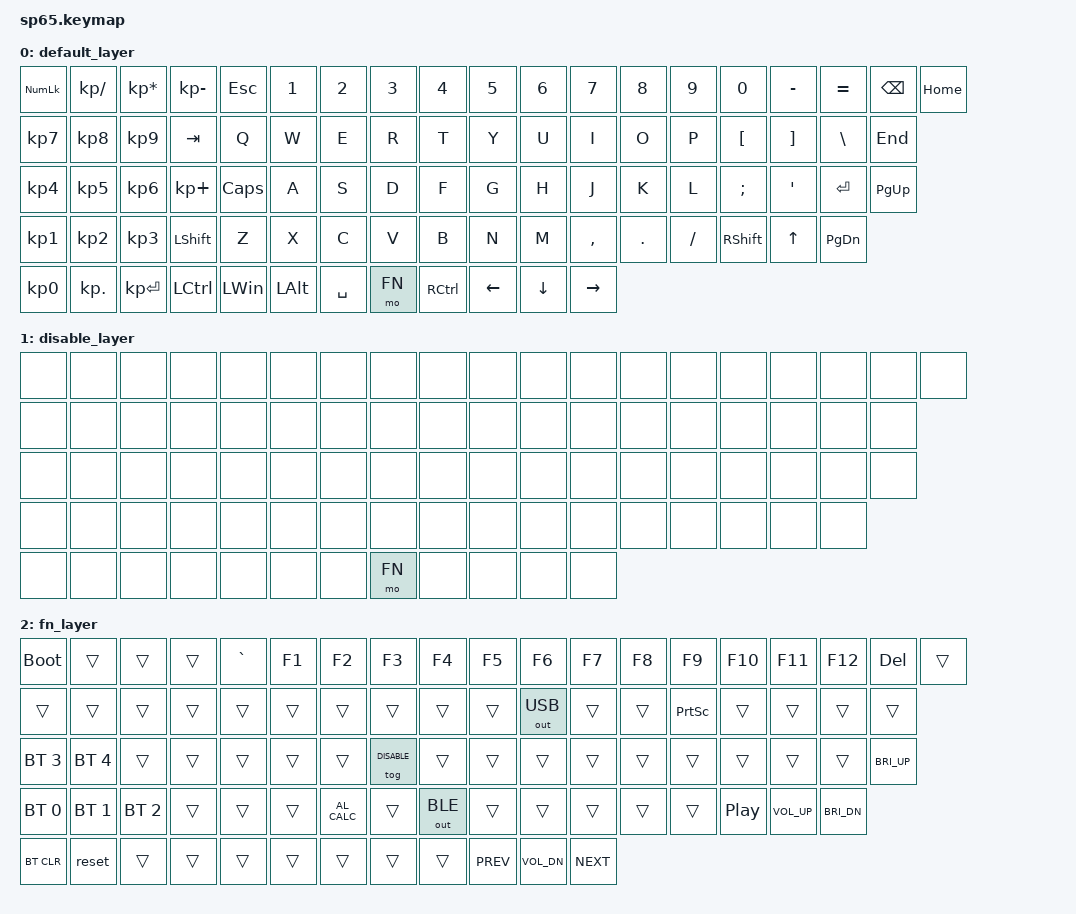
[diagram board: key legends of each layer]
#include <behaviors.dtsi>
#include <dt-bindings/zmk/bt.h>
#include <dt-bindings/zmk/keys.h>
#include <dt-bindings/zmk/outputs.h>

#define DEFAULT 0
#define FN      2
#define DISABLE 1

/ {
    keymap {
        compatible = "zmk,keymap";

// --------------------------------------------------------------------------------------------------------------------------------------------------------------------
// | MX1  | MX2  | MX3  | MX4  |   | MX5  | MX6 | MX7 | MX8 | MX9 | MX10 | MX11 | MX12 | MX13 | MX14 | MX15 | MX16 | MX17 | MX18     | MX19 |
// | NUMLK| DIV  | MULT | MINUS|   | ESC  | 1!  | 2@  | 3#  | 4$  | 5%   |  6^  |  7&  |  8*  |  9(  | 0)   |  -_  |  +=  | BACKSPC  | HOME |

// | MX20 | MX21 | MX22 |      |   | MX23 | MX34 | MX25 | MX26 | MX27 | MX28 | MX29 | MX30 | MX31 | MX32 | MX33 | MX34 | MX35 | MX36 | MX37 |
// | 7HM  | 8UP  |9PGUP |      |   | TAB  | Q    | W    | E    | R    | T    | Y    | U    | I    | O    | P    |  {[  |  }]  |  \|  |  END |

// | MX38 | MX39 | MX40 | MX41 |   | MX42 | MX43 | MX44 | MX45 | MX46 | MX47 | MX48 | MX49 | MX50 | MX51 | MX52 | MX53 | MX54 |      | MX55 |
// | 4RIG | 5    | 6LFT | PLUS |   | CAPS | A    | S    | D    | F    | G    | H    | J    | K    | L    | ;:   | '"   | ENTR |      | PGUP |

// | MX56 | MX57 | MX58 |      |   | MX59 | MX60 | MX61 | MX62 | MX63 | MX64 | MX65 | MX66 | MX67 | MX68 | MX69 | MX70 |      | MX71 | MX72 |
// | 1END | 2DN  |3PGDN |      |   | SHFT | Z    | X    | C    | V    | B    | N    | M    | ,<   | .>   | /?   | SHFT |      | UPARW| PGDN |

// | MX73 |      | MX74 | MX75 |   | MX76 | MX77 | MX78 |             | MX79 |                    | MX80 |      | MX81 | MX82 | MX83 | MX84 |
// | 0INS |      | .DEL | ENTR |   |LCTRL | WIN  | LALT |             |SPACE |                    | Fn   |      |RCTRL | LARW |DNARW | RARW |

        default_layer {
            bindings = <
        &kp KP_NUMLOCK         &kp KP_SLASH                 &kp KP_ASTERISK     &kp KP_MINUS        &kp ESC   &kp N1    &kp N2    &kp N3    &kp N4    &kp N5    &kp N6    &kp N7    &kp N8    &kp N9    &kp N0  &kp MINUS       &kp EQUAL   &kp BSPC    &kp HOME
        &kp KP_N7   &kp KP_N8  &kp KP_N9                    &kp TAB   &kp Q     &kp W     &kp E     &kp R     &kp T     &kp Y     &kp U     &kp I     &kp O     &kp P     &kp LEFT_BRACKET    &kp RIGHT_BRACKET &kp BACKSLASH   &kp END
        &kp KP_N4   &kp KP_N5  &kp KP_N6     &kp KP_PLUS    &kp CAPS  &kp A     &kp S     &kp D     &kp F     &kp G     &kp H     &kp J     &kp K     &kp L     &kp SEMICOLON   &kp SINGLE_QUOTE &kp ENTER        &kp PG_UP
        &kp KP_N1   &kp KP_N2  &kp KP_N3                    &kp LEFT_SHIFT      &kp Z     &kp X     &kp C     &kp V     &kp B     &kp N     &kp M     &kp COMMA &kp PERIOD      &kp SLASH        &kp RIGHT_SHIFT  &kp UP_ARROW &kp PG_DN
        &kp KP_N0   &kp KP_DOT               &kp KP_ENTER   &kp LCTRL &kp LWIN  &kp LALT  &kp SPACE           &mo FN     &kp RCTRL &kp LEFT_ARROW      &kp DOWN_ARROW  &kp RIGHT_ARROW
            >;
        };

        disable_layer {
            bindings = <
        &none &none &none &none                     &none &none &none &none &none &none &none &none &none &none &none &none &none &none &none
        &none &none &none                           &none &none &none &none &none &none &none &none &none &none &none &none &none &none &none
        &none &none &none &none                     &none &none &none &none &none &none &none &none &none &none &none &none &none &none
        &none &none &none                           &none &none &none &none &none &none &none &none &none &none &none &none &none &none 
        &none &none &none                           &none &none &none           &none                         &mo FN &none &none &none &none 
            >;
        };

        fn_layer {
            bindings = <
        &bootloader &trans &trans &trans                    &kp GRAVE &kp F1 &kp F2 &kp F3 &kp F4 &kp F5 &kp F6 &kp F7 &kp F8 &kp F9 &kp F10 &kp F11 &kp F12 &kp DEL    &trans
        &trans &trans &trans                                &trans &trans &trans &trans &trans &trans &trans &out OUT_USB &trans &trans &kp PSCRN &trans &trans &trans     &trans
        &bt BT_SEL 3 &bt BT_SEL 4 &trans &trans             &trans &trans &trans &tog DISABLE &trans &trans &trans &trans &trans &trans &trans &trans &trans                  &kp C_BRI_UP
        &bt BT_SEL 0 &bt BT_SEL 1 &bt BT_SEL 2              &trans &trans &trans &kp C_AL_CALC &trans &out OUT_BLE &trans &trans &trans &trans &trans &kp C_PP &kp C_VOL_UP    &kp C_BRI_DN
        &bt BT_CLR &reset &trans                            &trans &trans &trans                &trans                          &trans          &trans &kp C_PREV &kp C_VOL_DN &kp C_NEXT
            >;
        };

        
    };
};
